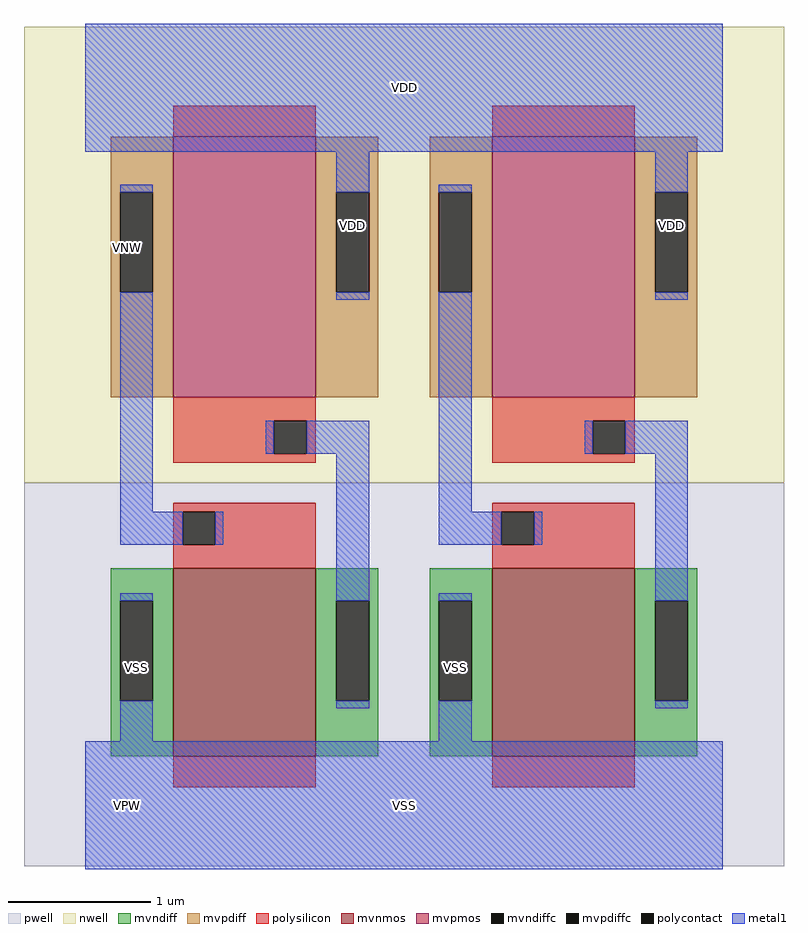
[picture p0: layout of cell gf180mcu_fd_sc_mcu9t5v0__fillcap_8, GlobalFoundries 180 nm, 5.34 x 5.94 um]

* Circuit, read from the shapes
.subckt gf180mcu_fd_sc_mcu9t5v0__fillcap_8 VDD VNW VPW VSS
XM1 n1 n2 VSS VPW nfet_06v0 w=1.32u l=1u
XM2 n3 n4 VSS VPW nfet_06v0 w=1.32u l=1u
XM3 VDD n1 n2 VNW pfet_06v0 w=1.83u l=1u
XM4 VDD n3 n4 VNW pfet_06v0 w=1.83u l=1u
.ends

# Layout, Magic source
magic
tech gf180mcuD
magscale 1 10
<< nwell >>
rect -86 453 982 1094
<< pwell >>
rect -86 -86 982 453
<< mvnmos >>
rect 124 69 324 333
rect 572 69 772 333
<< mvpmos >>
rect 124 573 324 939
rect 572 573 772 939
<< mvndiff >>
rect 36 287 124 333
rect 36 147 49 287
rect 95 147 124 287
rect 36 69 124 147
rect 324 287 412 333
rect 324 147 353 287
rect 399 147 412 287
rect 324 69 412 147
rect 484 287 572 333
rect 484 147 497 287
rect 543 147 572 287
rect 484 69 572 147
rect 772 287 860 333
rect 772 147 801 287
rect 847 147 860 287
rect 772 69 860 147
<< mvpdiff >>
rect 36 861 124 939
rect 36 721 49 861
rect 95 721 124 861
rect 36 573 124 721
rect 324 861 412 939
rect 324 721 353 861
rect 399 721 412 861
rect 324 573 412 721
rect 484 861 572 939
rect 484 721 497 861
rect 543 721 572 861
rect 484 573 572 721
rect 772 861 860 939
rect 772 721 801 861
rect 847 721 860 861
rect 772 573 860 721
<< mvndiffc >>
rect 49 147 95 287
rect 353 147 399 287
rect 497 147 543 287
rect 801 147 847 287
<< mvpdiffc >>
rect 49 721 95 861
rect 353 721 399 861
rect 497 721 543 861
rect 801 721 847 861
<< polysilicon >>
rect 124 939 324 983
rect 572 939 772 983
rect 124 540 324 573
rect 124 494 265 540
rect 311 494 324 540
rect 124 481 324 494
rect 572 540 772 573
rect 572 494 713 540
rect 759 494 772 540
rect 572 481 772 494
rect 124 412 324 425
rect 124 366 137 412
rect 183 366 324 412
rect 124 333 324 366
rect 572 412 772 425
rect 572 366 585 412
rect 631 366 772 412
rect 572 333 772 366
rect 124 25 324 69
rect 572 25 772 69
<< polycontact >>
rect 265 494 311 540
rect 713 494 759 540
rect 137 366 183 412
rect 585 366 631 412
<< metal1 >>
rect 0 918 896 1098
rect 49 861 95 872
rect 49 412 95 721
rect 353 861 399 918
rect 353 710 399 721
rect 497 861 543 872
rect 254 494 265 540
rect 311 494 399 540
rect 49 366 137 412
rect 183 366 194 412
rect 49 287 95 298
rect 49 90 95 147
rect 353 287 399 494
rect 497 412 543 721
rect 801 861 847 918
rect 801 710 847 721
rect 702 494 713 540
rect 759 494 847 540
rect 497 366 585 412
rect 631 366 642 412
rect 353 136 399 147
rect 497 287 543 298
rect 497 90 543 147
rect 801 287 847 494
rect 801 136 847 147
rect 0 -90 896 90
<< labels >>
flabel metal1 s 0 918 896 1098 0 FreeSans 200 0 0 0 VDD
port 1 nsew power bidirectional abutment
flabel metal1 s 497 90 543 298 0 FreeSans 200 0 0 0 VSS
port 4 nsew ground bidirectional abutment
flabel nwell s 10 734 110 834 0 FreeSans 400 0 0 0 VNW
port 2 nsew power bidirectional
flabel pwell s 10 -50 110 50 0 FreeSans 400 0 0 0 VPW
port 3 nsew ground bidirectional
rlabel metal1 s 801 710 847 918 1 VDD
port 1 nsew power bidirectional abutment
rlabel metal1 s 353 710 399 918 1 VDD
port 1 nsew power bidirectional abutment
rlabel metal1 s 49 90 95 298 1 VSS
port 4 nsew ground bidirectional abutment
rlabel metal1 s 0 -90 896 90 1 VSS
port 4 nsew ground bidirectional abutment
<< properties >>
string FIXED_BBOX 0 0 896 1008
string GDS_END 779450
string GDS_FILE $PDKPATH/libs.ref/gf180mcu_fd_sc_mcu9t5v0/gds/gf180mcu_fd_sc_mcu9t5v0.gds
string GDS_START 776048
string LEFclass core SPACER
string LEFsite GF018hv5v_green_sc9
string LEFsymmetry X Y
<< end >>
